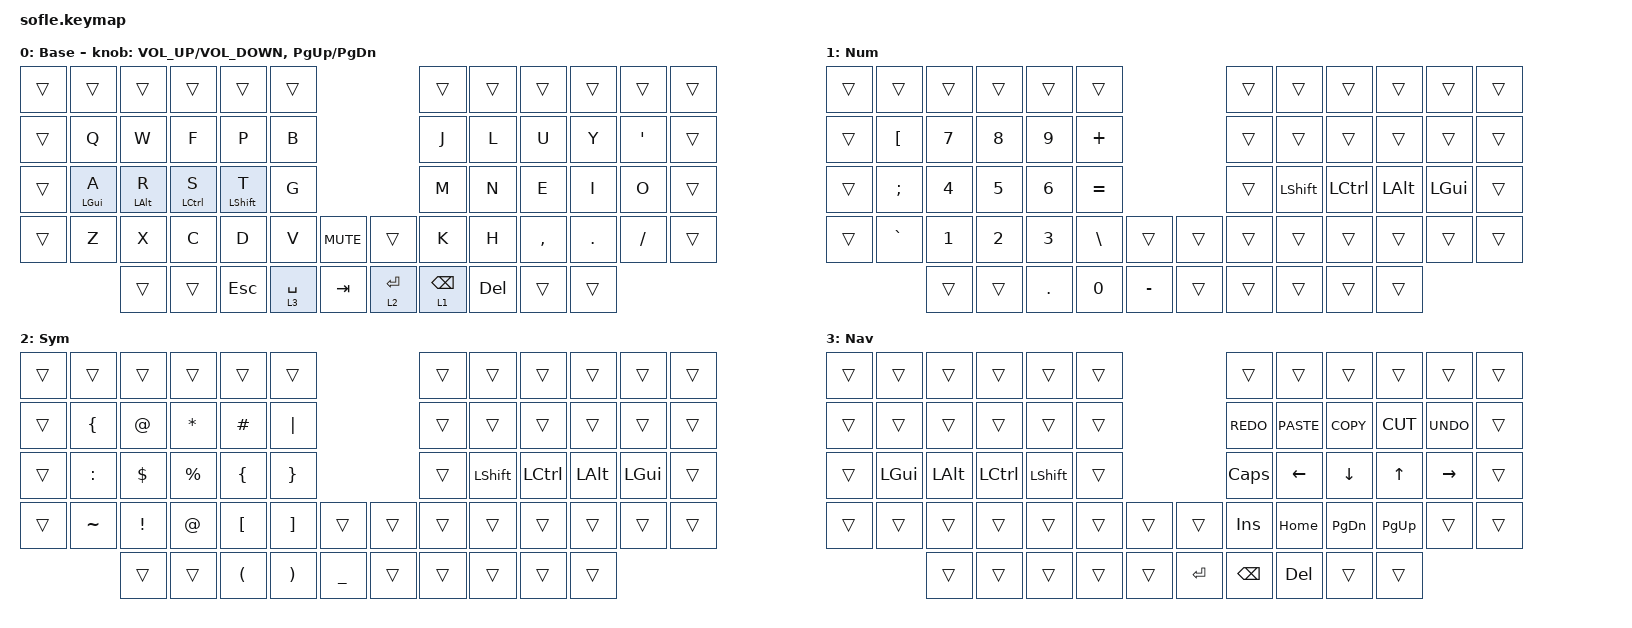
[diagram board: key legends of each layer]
/*
 * Copyright (c) 2020 The ZMK Contributors
 *
 * SPDX-License-Identifier: MIT
 */

#include <behaviors.dtsi>
#include <dt-bindings/zmk/keys.h>

#define BASE 0
#define LOWER 1
#define RAISE 2
#define ADJUST 3

/ {
    // Activate ADJUST layer by pressing raise and lower

    conditional_layers { compatible = "zmk,conditional-layers"; };

    behaviors {
        hold_tap: hold_tap {
            compatible = "zmk,behavior-hold-tap";
            label = "HOLD_TAP";
            bindings = <&kp>, <&kp>;

            #binding-cells = <2>;
            tapping-term-ms = <200>;
            flavor = "tap-preferred";
        };
    };

    keymap {
        compatible = "zmk,keymap";

        Base {
            bindings = <
&trans  &trans          &trans          &trans       &trans            &trans                                  &trans           &trans   &trans     &trans   &trans    &trans
&trans  &kp Q           &kp W           &kp F        &kp P             &kp B                                   &kp J            &kp L    &kp U      &kp Y    &kp APOS  &trans
&trans  &mt LEFT_GUI A  &mt LEFT_ALT R  &mt LCTRL S  &mt LEFT_SHIFT T  &kp G                                   &kp M            &kp N    &kp E      &kp I    &kp O     &trans
&trans  &kp Z           &kp X           &kp C        &kp D             &kp V        &kp K_MUTE    &trans       &kp K            &kp H    &kp COMMA  &kp DOT  &kp FSLH  &trans
                        &trans          &trans       &kp ESC           &lt 3 SPACE  &kp TAB       &lt 2 ENTER  &lt 1 BACKSPACE  &kp DEL  &trans     &trans
            >;

            sensor-bindings =
                <&inc_dec_kp C_VOLUME_UP C_VOLUME_DOWN>,
                <&inc_dec_kp PAGE_UP PAGE_DOWN>;
        };

        Num {
            bindings = <
&trans  &trans     &trans  &trans  &trans   &trans                          &trans  &trans     &trans     &trans    &trans    &trans
&trans  &kp LBKT   &kp N7  &kp N8  &kp N9   &kp PLUS                        &trans  &trans     &trans     &trans    &trans    &trans
&trans  &kp SEMI   &kp N4  &kp N5  &kp N6   &kp EQUAL                       &trans  &kp LSHFT  &kp LCTRL  &kp LALT  &kp LGUI  &trans
&trans  &kp GRAVE  &kp N1  &kp N2  &kp N3   &kp BSLH   &trans       &trans  &trans  &trans     &trans     &trans    &trans    &trans
                   &trans  &trans  &kp DOT  &kp N0     &kp MINUS    &trans  &trans  &trans     &trans     &trans
            >;
        };

        Sym {
            bindings = <
&trans  &trans          &trans       &trans       &trans                &trans                                      &trans  &trans     &trans     &trans    &trans    &trans
&trans  &kp LEFT_BRACE  &kp AT_SIGN  &kp STAR     &kp HASH              &kp PIPE                                    &trans  &trans     &trans     &trans    &trans    &trans
&trans  &kp COLON       &kp DOLLAR   &kp PERCENT  &kp LEFT_BRACE        &kp RIGHT_BRACE                             &trans  &kp LSHFT  &kp LCTRL  &kp LALT  &kp LGUI  &trans
&trans  &kp TILDE       &kp EXCL     &kp AT       &kp LEFT_BRACKET      &kp RIGHT_BRACKET      &trans       &trans  &trans  &trans     &trans     &trans    &trans    &trans
                        &trans       &trans       &kp LEFT_PARENTHESIS  &kp RIGHT_PARENTHESIS  &kp UNDER    &trans  &trans  &trans     &trans     &trans
            >;
        };

        Nav {
            bindings = <
&trans  &trans    &trans    &trans     &trans     &trans                     &trans      &trans       &trans      &trans     &trans      &trans
&trans  &trans    &trans    &trans     &trans     &trans                     &kp K_REDO  &kp K_PASTE  &kp K_COPY  &kp K_CUT  &kp K_UNDO  &trans
&trans  &kp LGUI  &kp LALT  &kp LCTRL  &kp LSHFT  &trans                     &kp CAPS    &kp LEFT     &kp DOWN    &kp UP     &kp RIGHT   &trans
&trans  &trans    &trans    &trans     &trans     &trans  &trans    &trans   &kp INSERT  &kp HOME     &kp PG_DN   &kp PG_UP  &trans      &trans
                  &trans    &trans     &trans     &trans  &trans    &kp RET  &kp BSPC    &kp DEL      &trans      &trans
            >;
        };
    };
};
